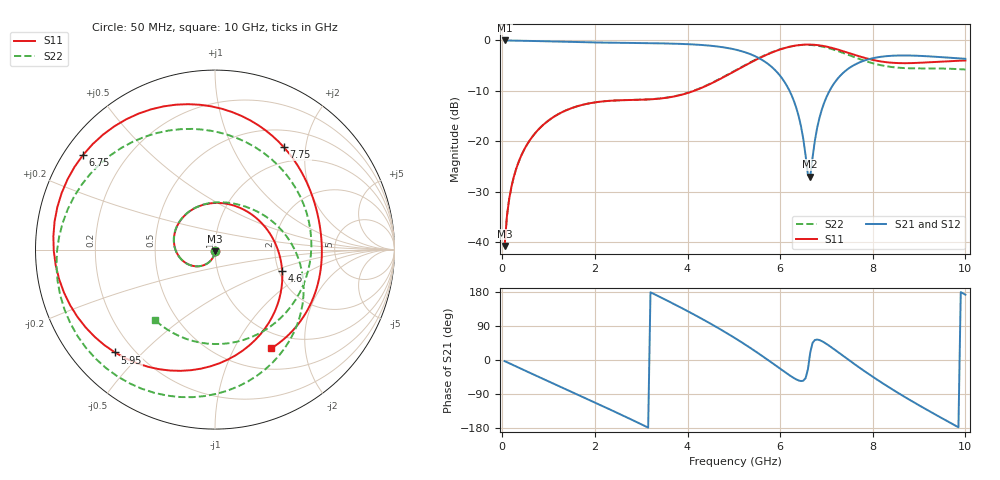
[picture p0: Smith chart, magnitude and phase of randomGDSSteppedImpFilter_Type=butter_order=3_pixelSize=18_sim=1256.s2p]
! freq	dB(S11)	phase(S11)	dB(S12)	phase(S12)
!  dB(S21)	phase(S21)	dB(S22)	phase(S22)
!S-par simulation data
#  GHz  S  DB  R 50
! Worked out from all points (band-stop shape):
!   200 points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, 50 MHz to 10 GHz, reference 50 ohm
!   highest |S21| = 0.00 dB at 50 MHz (marker M1); lowest = -26.9 dB at 6.65 GHz (marker M2)
!   |S21| within 3 dB of the highest: start of sweep to 5.431 GHz; 8.475 GHz to 8.881 GHz (406.3 MHz wide, 4.68 % of centre)
!   lowest |S11| = -40.7 dB at 50 MHz (marker M3), VSWR 1.02, Z = 50 - j0.922 ohm
!   |S11| at or under -10 dB: start of sweep to 4.133 GHz
!   |S22| runs from -40.7 to -0.9 dB; largest |S21 - S12| = 0
!   S11 on the Smith chart (normalised r, x): 50 MHz: 1.00, -0.02; 4.6 GHz: 2.08, -0.59; 5.95 GHz: 0.13, -0.42; 6.75 GHz: 0.06, +0.32; 7.75 GHz: 0.75, +1.62; 10 GHz: 0.77, -1.42
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0.05  -40.70 -92.0  -0.00 -2.9  -0.00 -2.9  -40.73 -92.4
0.2  -28.87 -101.3  -0.02 -11.4  -0.02 -11.4  -28.87 -101.3
0.5  -21.16 -118.9  -0.07 -28.4  -0.07 -28.4  -21.16 -118.8
1.15  -14.91 -155.8  -0.22 -64.9  -0.22 -64.9  -14.91 -155.6
1.75  -12.71 170.4  -0.36 -98.4  -0.36 -98.4  -12.71 171.3
2.65  -11.82 117.9  -0.48 -149.2  -0.48 -149.2  -11.80 122.1
3.4  -11.52 69.9  -0.58 166.6  -0.58 166.6  -11.49 81.7
4.05  -10.27 23.9  -0.76 125.8  -0.76 125.8  -10.22 46.1
4.6  -8.12 -17.6  -1.15 88.7  -1.15 88.7  -8.06 13.4
5.05  -5.92 -53.6  -1.85 55.9  -1.85 55.9  -5.85 -16.7
5.5  -3.73 -92.2  -3.30 20.1  -3.30 20.1  -3.66 -50.8
5.95  -1.95 -134.2  -6.46 -18.6  -6.46 -18.6  -1.90 -89.4
6.35  -0.99 -174.4  -13.40 -51.3  -13.40 -51.3  -1.00 -127.6
6.65  -0.82 154.6  -26.95 20.0  -26.95 20.0  -0.89 -158.3
6.7  -0.84 149.4  -23.18 45.2  -23.18 45.2  -0.92 -163.5
6.75  -0.87 144.3  -19.81 52.8  -19.81 52.8  -0.97 -168.8
6.95  -1.13 124.2  -12.35 46.4  -12.35 46.4  -1.29 170.0
7.3  -1.96 91.5  -6.97 16.3  -6.97 16.3  -2.27 132.6
7.75  -3.26 56.0  -4.21 -23.4  -4.21 -23.4  -3.80 84.6
8.35  -4.37 19.5  -3.07 -72.0  -3.07 -72.0  -5.19 21.8
9.25  -4.30 -25.6  -3.17 -137.0  -3.17 -137.0  -5.55 -63.5
10  -3.97 -60.4  -3.64 172.3  -3.64 172.3  -5.76 -130.7
